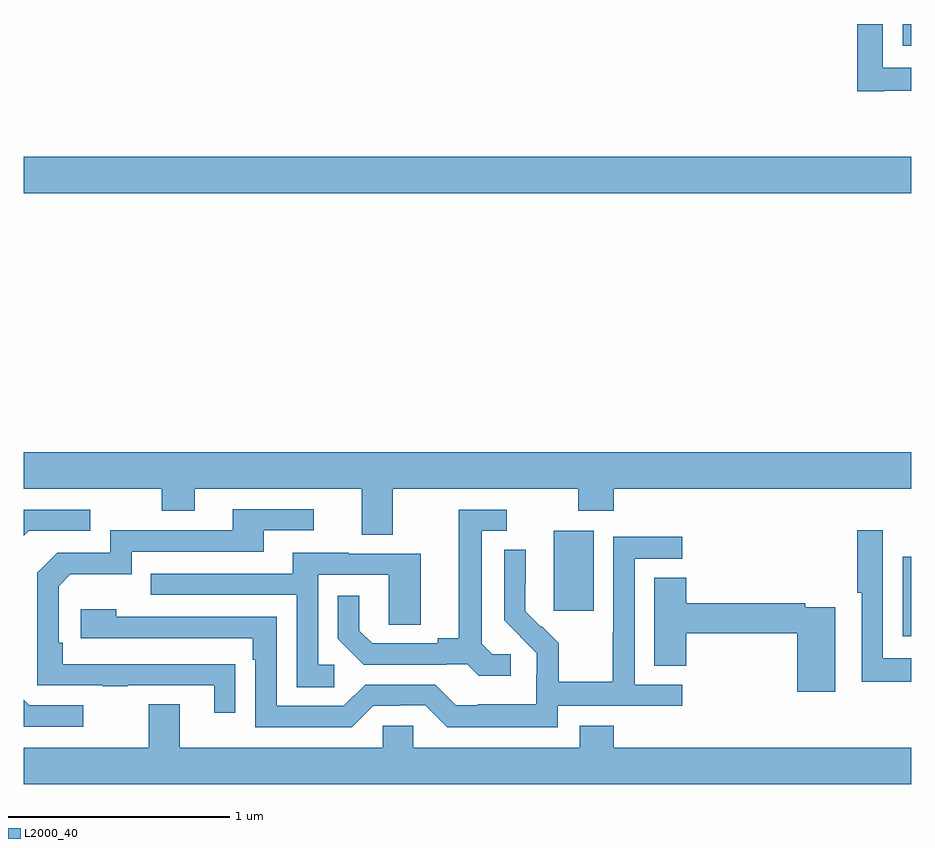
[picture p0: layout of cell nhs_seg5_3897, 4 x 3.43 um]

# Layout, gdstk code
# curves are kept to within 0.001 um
import gdstk
lib = gdstk.Library(unit=1e-6, precision=1e-09)
def R(c, l, rs):  # rectangles x0, y0, x1, y1
    for r in rs: c.add(gdstk.rectangle(r[:2], r[2:], *l))
def P(c, l, *ps):  # polygons
    for p in ps: c.add(gdstk.Polygon(p, *l))
L2000_40 = (2000, 40)

nhs_seg5_3897 = lib.new_cell('nhs_seg5_3897')
R(nhs_seg5_3897, L2000_40, [(342.962,912.038,343,912.397), (341.39,912.153,341.569,912.514), (339,914.036,343,914.2), (342.962,914.702,343,914.799)])
P(nhs_seg5_3897, L2000_40, [(342.88,914.498),(343,914.498),(343,914.602),(342.873,914.602),(342.873,914.799),(342.757,914.799),(342.757,914.496),(342.88,914.496)],
  [(340.663,912.704),(341.5,912.704),(341.5,912.605),(341.66,912.605),(341.66,912.704),(343,912.704),(343,912.868),(339,912.868),(339,912.704),(339.622,912.704),(339.622,912.605),(339.769,912.605),(339.769,912.704),(340.523,912.704),(340.523,912.496),(340.663,912.496)],
  [(339.953,911.912),(339.176,911.913),(339.176,912.01),(339.156,912.01),(339.156,912.264),(339.209,912.317),(339.486,912.317),(339.486,912.42),(340.081,912.42),(340.081,912.516),(340.306,912.516),(340.306,912.612),(339.941,912.612),(339.941,912.516),(339.39,912.516),(339.39,912.414),(339.15,912.414),(339.06,912.324),(339.06,911.817),(339.355,911.817),(339.355,911.812),(339.467,911.812),(339.467,911.817),(339.857,911.817),(339.857,911.694),(339.953,911.694)],
  [(341.194,911.958),(341.112,911.958),(341.065,912.005),(341.065,912.513),(341.176,912.513),(341.176,912.609),(340.961,912.609),(340.961,912.029),(340.865,912.029),(340.865,912.006),(340.57,912.006),(340.513,912.063),(340.513,912.22),(340.416,912.22),(340.416,912.026),(340.532,911.91),(340.904,911.91),(340.904,911.913),(340.998,911.913),(341.05,911.861),(341.194,911.861)],
  [(339.021,912.513),(339.298,912.513),(339.298,912.609),(339,912.609),(339,912.492)],
  [(343,911.938),(342.873,911.938),(342.873,912.517),(342.757,912.517),(342.757,912.235),(342.777,912.235),(342.777,911.834),(343,911.834)],
  [(341.406,911.724),(341.968,911.724),(341.968,911.82),(341.754,911.82),(341.754,912.387),(341.968,912.387),(341.968,912.486),(341.658,912.486),(341.658,912.056),(341.656,912.056),(341.656,911.833),(341.411,911.833),(341.411,912.007),(341.334,912.084),(341.331,912.081),(341.261,912.152),(341.262,912.428),(341.166,912.428),(341.166,912.11),(341.312,911.962),(341.312,911.865),(341.31,911.865),(341.31,911.731),(341.047,911.731),(341.047,911.727),(340.947,911.727),(340.854,911.82),(340.539,911.82),(340.443,911.724),(340.14,911.724),(340.14,912.126),(339.416,912.126),(339.416,912.16),(339.255,912.16),(339.255,912.03),(340.031,912.03),(340.031,911.933),(340.044,911.933),(340.044,911.628),(340.479,911.628),(340.575,911.724),(340.694,911.724),(340.694,911.727),(340.809,911.727),(340.909,911.627),(341.406,911.627)],
  [(340.399,911.91),(340.326,911.91),(340.326,912.315),(340.644,912.315),(340.644,912.091),(340.789,912.091),(340.789,912.411),(340.465,912.411),(340.465,912.415),(340.211,912.415),(340.211,912.321),(339.571,912.321),(339.571,912.225),(340.23,912.225),(340.23,911.809),(340.399,911.809)],
  [(342.658,912.168),(342.524,912.168),(342.524,912.188),(341.987,912.188),(341.987,912.302),(341.843,912.302),(341.843,911.905),(341.987,911.905),(341.987,912.052),(342.488,912.052),(342.488,911.787),(342.658,911.787)],
  [(339.268,911.727),(339.024,911.727),(339,911.751),(339,911.631),(339.268,911.631)],
  [(343,911.536),(341.66,911.536),(341.66,911.635),(341.507,911.635),(341.507,911.536),(340.755,911.536),(340.755,911.634),(340.617,911.634),(340.617,911.536),(339.703,911.536),(339.703,911.731),(339.563,911.731),(339.563,911.536),(339,911.536),(339,911.372),(343,911.372)])

lib.write_gds('nhs_seg5_3897.gds')
